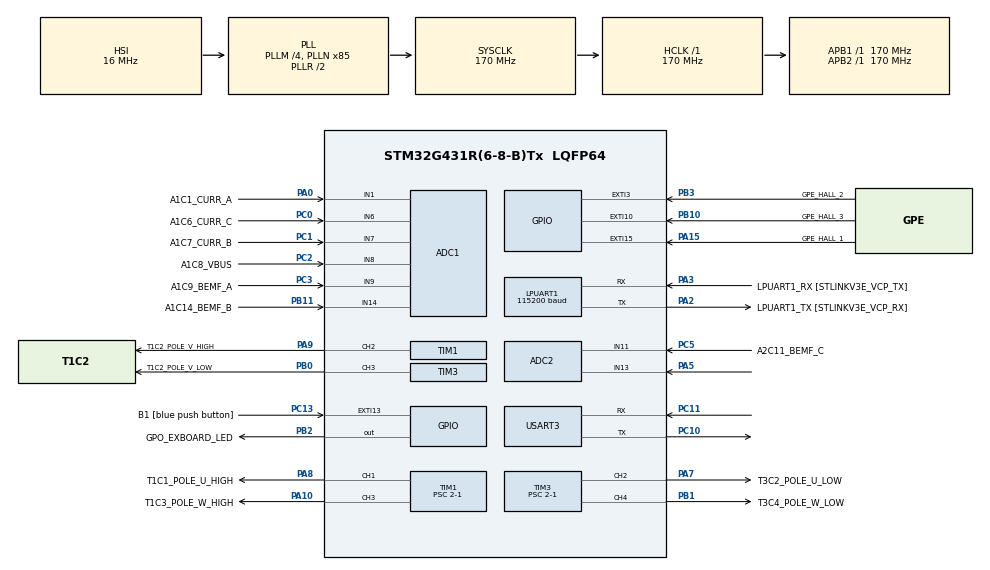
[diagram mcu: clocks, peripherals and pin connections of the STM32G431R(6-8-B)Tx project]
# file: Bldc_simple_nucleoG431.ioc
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ADC1.Channel-0\#ChannelRegularConversion=ADC_CHANNEL_1
ADC1.Channel-1\#ChannelRegularConversion=ADC_CHANNEL_6
ADC1.Channel-2\#ChannelRegularConversion=ADC_CHANNEL_7
ADC1.Channel-3\#ChannelRegularConversion=ADC_CHANNEL_9
ADC1.Channel-4\#ChannelRegularConversion=ADC_CHANNEL_14
ADC1.Channel-5\#ChannelRegularConversion=ADC_CHANNEL_8
ADC1.ContinuousConvMode=ENABLE
ADC1.DMAAccessModeView=ENABLE
ADC1.DMAContinuousRequests=ENABLE
ADC1.EOCSelection=ADC_EOC_SINGLE_CONV
ADC1.EnableInjectedConversion=DISABLE
ADC1.ExternalTrigConv=ADC_SOFTWARE_START
ADC1.Mode=ADC_DUALMODE_REGSIMULT
ADC1.NbrOfConversion=6
ADC1.NbrOfConversionFlag=1
ADC1.OffsetNumber-0\#ChannelRegularConversion=ADC_OFFSET_NONE
ADC1.OffsetNumber-1\#ChannelRegularConversion=ADC_OFFSET_NONE
ADC1.OffsetNumber-2\#ChannelRegularConversion=ADC_OFFSET_NONE
ADC1.OffsetNumber-3\#ChannelRegularConversion=ADC_OFFSET_NONE
ADC1.OffsetNumber-4\#ChannelRegularConversion=ADC_OFFSET_NONE
ADC1.OffsetNumber-5\#ChannelRegularConversion=ADC_OFFSET_NONE
ADC1.Rank-0\#ChannelRegularConversion=1
ADC1.Rank-1\#ChannelRegularConversion=2
ADC1.Rank-2\#ChannelRegularConversion=3
ADC1.Rank-3\#ChannelRegularConversion=4
ADC1.Rank-4\#ChannelRegularConversion=5
ADC1.Rank-5\#ChannelRegularConversion=6
ADC1.SamplingTime-0\#ChannelRegularConversion=ADC_SAMPLETIME_24CYCLES_5
ADC1.SamplingTime-1\#ChannelRegularConversion=ADC_SAMPLETIME_24CYCLES_5
ADC1.SamplingTime-2\#ChannelRegularConversion=ADC_SAMPLETIME_24CYCLES_5
ADC1.SamplingTime-3\#ChannelRegularConversion=ADC_SAMPLETIME_24CYCLES_5
ADC1.SamplingTime-4\#ChannelRegularConversion=ADC_SAMPLETIME_24CYCLES_5
ADC1.SamplingTime-5\#ChannelRegularConversion=ADC_SAMPLETIME_24CYCLES_5
ADC1.TwoSamplingDelay=ADC_TWOSAMPLINGDELAY_4CYCLES
ADC1.master=1
ADC2.Channel-2\#ChannelRegularConversion=ADC_CHANNEL_11
ADC2.Channel-3\#ChannelRegularConversion=ADC_CHANNEL_13
ADC2.DMAAccessModeView=ENABLE
ADC2.Mode=ADC_DUALMODE_REGSIMULT
ADC2.NbrOfConversion=2
ADC2.NbrOfConversionFlag=1
ADC2.OffsetNumber-2\#ChannelRegularConversion=ADC_OFFSET_NONE
ADC2.OffsetNumber-3\#ChannelRegularConversion=ADC_OFFSET_NONE
ADC2.Rank-2\#ChannelRegularConversion=1
ADC2.Rank-3\#ChannelRegularConversion=2
ADC2.SamplingTime-2\#ChannelRegularConversion=ADC_SAMPLETIME_24CYCLES_5
ADC2.SamplingTime-3\#ChannelRegularConversion=ADC_SAMPLETIME_24CYCLES_5
ADC2.TwoSamplingDelay=ADC_TWOSAMPLINGDELAY_4CYCLES
Dma.ADC1.0.Direction=DMA_PERIPH_TO_MEMORY
Dma.ADC1.0.EventEnable=DISABLE
Dma.ADC1.0.Instance=DMA1_Channel1
Dma.ADC1.0.MemDataAlignment=DMA_MDATAALIGN_WORD
Dma.ADC1.0.MemInc=DMA_MINC_ENABLE
Dma.ADC1.0.Mode=DMA_CIRCULAR
Dma.ADC1.0.PeriphDataAlignment=DMA_PDATAALIGN_WORD
Dma.ADC1.0.PeriphInc=DMA_PINC_DISABLE
Dma.ADC1.0.Polarity=HAL_DMAMUX_REQ_GEN_RISING
Dma.ADC1.0.Priority=DMA_PRIORITY_LOW
Dma.ADC1.0.RequestNumber=1
Dma.ADC1.0.SignalID=NONE
Dma.ADC1.0.SyncEnable=DISABLE
Dma.ADC1.0.SyncPolarity=HAL_DMAMUX_SYNC_NO_EVENT
Dma.ADC1.0.SyncRequestNumber=1
Dma.ADC1.0.SyncSignalID=NONE
Dma.LPUART1_RX.1.Direction=DMA_PERIPH_TO_MEMORY
Dma.LPUART1_RX.1.EventEnable=DISABLE
Dma.LPUART1_RX.1.Instance=DMA1_Channel2
Dma.LPUART1_RX.1.MemDataAlignment=DMA_MDATAALIGN_BYTE
Dma.LPUART1_RX.1.MemInc=DMA_MINC_ENABLE
Dma.LPUART1_RX.1.Mode=DMA_CIRCULAR
Dma.LPUART1_RX.1.PeriphDataAlignment=DMA_PDATAALIGN_BYTE
Dma.LPUART1_RX.1.PeriphInc=DMA_PINC_DISABLE
Dma.LPUART1_RX.1.Polarity=HAL_DMAMUX_REQ_GEN_RISING
Dma.LPUART1_RX.1.Priority=DMA_PRIORITY_LOW
Dma.LPUART1_RX.1.RequestNumber=1
Dma.LPUART1_RX.1.SignalID=NONE
Dma.LPUART1_RX.1.SyncEnable=DISABLE
Dma.LPUART1_RX.1.SyncPolarity=HAL_DMAMUX_SYNC_NO_EVENT
Dma.LPUART1_RX.1.SyncRequestNumber=1
Dma.LPUART1_RX.1.SyncSignalID=NONE
Dma.LPUART1_TX.2.Direction=DMA_MEMORY_TO_PERIPH
Dma.LPUART1_TX.2.EventEnable=DISABLE
Dma.LPUART1_TX.2.Instance=DMA1_Channel3
Dma.LPUART1_TX.2.MemDataAlignment=DMA_MDATAALIGN_BYTE
Dma.LPUART1_TX.2.MemInc=DMA_MINC_ENABLE
Dma.LPUART1_TX.2.Mode=DMA_NORMAL
Dma.LPUART1_TX.2.PeriphDataAlignment=DMA_PDATAALIGN_BYTE
Dma.LPUART1_TX.2.PeriphInc=DMA_PINC_DISABLE
Dma.LPUART1_TX.2.Polarity=HAL_DMAMUX_REQ_GEN_RISING
Dma.LPUART1_TX.2.Priority=DMA_PRIORITY_LOW
Dma.LPUART1_TX.2.RequestNumber=1
Dma.LPUART1_TX.2.SignalID=NONE
Dma.LPUART1_TX.2.SyncEnable=DISABLE
Dma.LPUART1_TX.2.SyncPolarity=HAL_DMAMUX_SYNC_NO_EVENT
Dma.LPUART1_TX.2.SyncRequestNumber=1
Dma.LPUART1_TX.2.SyncSignalID=NONE
Dma.Request0=ADC1
Dma.Request1=LPUART1_RX
Dma.Request2=LPUART1_TX
LPUART1.BaudRate=115200
LPUART1.WordLength=UART_WORDLENGTH_8B
Mcu.Family=STM32G4
Mcu.Name=STM32G431R(6-8-B)Tx
Mcu.Package=LQFP64
Mcu.UserConstants=TIM1_MAX_DUTY,4249
NVIC.ADC1_2_IRQn=true\:0\:0\:false\:false\:true\:true\:true\:true
NVIC.DMA1_Channel1_IRQn=true\:0\:0\:false\:false\:true\:false\:true\:true
NVIC.DMA1_Channel2_IRQn=true\:0\:0\:false\:false\:true\:false\:true\:true
NVIC.DMA1_Channel3_IRQn=true\:0\:0\:false\:false\:true\:false\:true\:true
NVIC.EXTI15_10_IRQn=true\:0\:0\:false\:false\:true\:true\:true\:true
NVIC.EXTI3_IRQn=true\:0\:0\:false\:false\:true\:true\:true\:true
NVIC.LPUART1_IRQn=true\:0\:0\:false\:false\:true\:true\:true\:true
NVIC.PriorityGroup=NVIC_PRIORITYGROUP_4
NVIC.TIM3_IRQn=true\:0\:0\:false\:false\:true\:true\:true\:true
NVIC.TIM6_DAC_IRQn=true\:0\:0\:false\:false\:true\:true\:true\:true
PA0.GPIO_Label=A1C1_CURR_A
PA0.Mode=IN1-Single-Ended
PA0.Signal=ADC1_IN1
PA10.GPIO_Label=T1C3_POLE_W_HIGH
PA10.Signal=S_TIM1_CH3
PA13.GPIO_Label=T_SWDIO
PA13.Mode=Serial_Wire
PA13.Signal=SYS_JTMS-SWDIO
PA14.GPIO_Label=T_SWCLK
PA14.Mode=Serial_Wire
PA14.Signal=SYS_JTCK-SWCLK
PA15.GPIO_Label=GPE_HALL_1
PA15.GPIO_ModeDefaultEXTI=GPIO_MODE_IT_RISING_FALLING
PA15.Signal=GPXTI15
PA2.GPIO_Label=LPUART1_TX [STLINKV3E_VCP_RX]
PA2.Mode=Asynchronous
PA2.Signal=LPUART1_TX
PA3.GPIO_Label=LPUART1_RX [STLINKV3E_VCP_TX]
PA3.Mode=Asynchronous
PA3.Signal=LPUART1_RX
PA5.Mode=IN13-Single-Ended
PA5.Signal=ADC2_IN13
PA7.GPIO_Label=T3C2_POLE_U_LOW
PA7.Signal=S_TIM3_CH2
PA8.GPIO_Label=T1C1_POLE_U_HIGH
PA8.Signal=S_TIM1_CH1
PA9.GPIO_Label=T1C2_POLE_V_HIGH
PA9.Signal=S_TIM1_CH2
PB0.GPIO_Label=T1C2_POLE_V_LOW
PB0.Signal=S_TIM3_CH3
PB1.GPIO_Label=T3C4_POLE_W_LOW
PB1.Signal=S_TIM3_CH4
PB10.GPIO_Label=GPE_HALL_3
PB10.GPIO_ModeDefaultEXTI=GPIO_MODE_IT_RISING_FALLING
PB10.Signal=GPXTI10
PB11.GPIO_Label=A1C14_BEMF_B
PB11.Mode=IN14-Single-Ended
PB11.Signal=ADC1_IN14
PB2.GPIO_Label=GPO_EXBOARD_LED
PB2.Signal=GPIO_Output
PB3.GPIO_Label=GPE_HALL_2
PB3.GPIO_ModeDefaultEXTI=GPIO_MODE_IT_RISING_FALLING
PB3.Signal=GPXTI3
PC0.GPIO_Label=A1C6_CURR_C
PC0.Mode=IN6-Single-Ended
PC0.Signal=ADC1_IN6
PC1.GPIO_Label=A1C7_CURR_B
PC1.Mode=IN7-Single-Ended
PC1.Signal=ADC1_IN7
PC10.Mode=Asynchronous
PC10.Signal=USART3_TX
PC11.Mode=Asynchronous
PC11.Signal=USART3_RX
PC13.GPIO_Label=B1 [blue push button]
PC13.Signal=GPXTI13
PC14-OSC32_IN.Mode=LSE-External-Oscillator
PC14-OSC32_IN.Signal=RCC_OSC32_IN
PC15-OSC32_OUT.Mode=LSE-External-Oscillator
PC15-OSC32_OUT.Signal=RCC_OSC32_OUT
PC2.GPIO_Label=A1C8_VBUS
PC2.Mode=IN8-Single-Ended
PC2.Signal=ADC1_IN8
PC3.GPIO_Label=A1C9_BEMF_A
PC3.Mode=IN9-Single-Ended
PC3.Signal=ADC1_IN9
PC5.GPIO_Label=A2C11_BEMF_C
PC5.Mode=IN11-Single-Ended
PC5.Signal=ADC2_IN11
PF0-OSC_IN.Mode=HSE-External-Oscillator
PF0-OSC_IN.Signal=RCC_OSC_IN
PF1-OSC_OUT.Mode=HSE-External-Oscillator
PF1-OSC_OUT.Signal=RCC_OSC_OUT
ProjectManager.HeapSize=0x200
ProjectManager.StackSize=0x400
ProjectManager.TargetToolchain=STM32CubeIDE
RCC.ADC12Freq_Value=170000000
RCC.AHBFreq_Value=170000000
RCC.APB1Freq_Value=170000000
RCC.APB1TimFreq_Value=170000000
RCC.APB2Freq_Value=170000000
RCC.APB2TimFreq_Value=170000000
RCC.CortexFreq_Value=170000000
RCC.EXTERNAL_CLOCK_VALUE=12288000
RCC.HCLKFreq_Value=170000000
RCC.HSE_VALUE=24000000
RCC.HSI48_VALUE=48000000
RCC.HSI_VALUE=16000000
RCC.PLLM=RCC_PLLM_DIV4
RCC.PLLN=85
RCC.RTCClockSelection=RCC_RTCCLKSOURCE_LSE
RCC.SYSCLKFreq_VALUE=170000000
RCC.SYSCLKSource=RCC_SYSCLKSOURCE_PLLCLK
RCC.USBFreq_Value=170000000
RCC.VCOOutputFreq_Value=340000000
SH.S_TIM1_CH1.0=TIM1_CH1,PWM Generation1 CH1
SH.S_TIM1_CH2.0=TIM1_CH2,PWM Generation2 CH2
SH.S_TIM1_CH3.0=TIM1_CH3,PWM Generation3 CH3
SH.S_TIM3_CH2.0=TIM3_CH2,PWM Generation2 CH2
SH.S_TIM3_CH3.0=TIM3_CH3,PWM Generation3 CH3
SH.S_TIM3_CH4.0=TIM3_CH4,PWM Generation4 CH4
TIM1.Channel-PWM\ Generation1\ CH1=TIM_CHANNEL_1
TIM1.Channel-PWM\ Generation2\ CH2=TIM_CHANNEL_2
TIM1.Channel-PWM\ Generation3\ CH3=TIM_CHANNEL_3
TIM1.PeriodNoDither=TIM1_MAX_DUTY
TIM1.Prescaler=2-1
TIM3.Channel-PWM\ Generation2\ CH2=TIM_CHANNEL_2
TIM3.Channel-PWM\ Generation3\ CH3=TIM_CHANNEL_3
TIM3.Channel-PWM\ Generation4\ CH4=TIM_CHANNEL_4
TIM3.PeriodNoDither=TIM1_MAX_DUTY
TIM3.Prescaler=2-1
TIM6.PeriodNoDither=1000-1
TIM6.Prescaler=170-1
TIM6.TIM_MasterOutputTrigger=TIM_TRGO_UPDATE
USART3.VirtualMode-Asynchronous=VM_ASYNC
VP_SYS_VS_DBSignals.Mode=DisableDeadBatterySignals
VP_TIM1_VS_ClockSourceINT.Mode=Internal
VP_TIM3_VS_ClockSourceINT.Mode=Internal
VP_TIM6_VS_ClockSourceINT.Mode=Enable_Timer
board=NUCLEO-G431RB

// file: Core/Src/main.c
/* USER CODE BEGIN Header */
/**
  ******************************************************************************
  * @file           : main.c
  * @brief          : Main program body
  ******************************************************************************
  * @attention
  *
  * Copyright (c) 2025 STMicroelectronics.
  * All rights reserved.
  *
  * This software is licensed under terms that can be found in the LICENSE file
  * in the root directory of this software component.
  * If no LICENSE file comes with this software, it is provided AS-IS.
  *
  ******************************************************************************
  */
/* USER CODE END Header */
#include "main.h"

/* USER CODE BEGIN Includes */
#include "tiny_printf.h"
// #include "pattern_mapping.h"
// #include "motorCtl.h"
#include "six_step.h"
#include "cli.h"
#include "L6398.h"
/* USER CODE END Includes */

ADC_HandleTypeDef hadc1;
ADC_HandleTypeDef hadc2;
DMA_HandleTypeDef hdma_adc1;

UART_HandleTypeDef hlpuart1;
UART_HandleTypeDef huart3;
DMA_HandleTypeDef hdma_lpuart1_rx;
DMA_HandleTypeDef hdma_lpuart1_tx;

TIM_HandleTypeDef htim1;
TIM_HandleTypeDef htim3;
TIM_HandleTypeDef htim6;

/* USER CODE BEGIN PV */
void _putchar(char character)
{
  // send char to console etc.
  HAL_UART_Transmit(&hlpuart1, (uint8_t*)(&character), 1, 20) ;
}

/* USER CODE END PV */

void SystemClock_Config(void);
static void MX_GPIO_Init(void);
static void MX_DMA_Init(void);
static void MX_ADC1_Init(void);
static void MX_LPUART1_UART_Init(void);
static void MX_TIM6_Init(void);
static void MX_ADC2_Init(void);
static void MX_TIM1_Init(void);
static void MX_USART3_UART_Init(void);
static void MX_TIM3_Init(void);

/* USER CODE BEGIN 0 */
uint16_t testPwmVal = 0;

static L6398_Unipolar_t g_xDriverUniPolar;
static _6StepCtlCtx_t g_xCtlUniPolar;

extern void AdcSampling();

/* USER CODE END 0 */

int main(void)
{

  /* MCU Configuration--------------------------------------------------------*/

  /* Reset of all peripherals, Initializes the Flash interface and the Systick. */
  HAL_Init();

  /* Configure the system clock */
  SystemClock_Config();

  /* Initialize all configured peripherals */
  MX_GPIO_Init();
  MX_DMA_Init();
  MX_ADC1_Init();
  MX_LPUART1_UART_Init();
  MX_TIM6_Init();
  MX_ADC2_Init();
  MX_TIM1_Init();
  MX_USART3_UART_Init();
  MX_TIM3_Init();
  /* USER CODE BEGIN 2 */

  printf("Hello Motor World!\r\n");
  //__HAL_TIM_SET_COUNTER(&htim1, 0);
  __HAL_TIM_SET_COUNTER(&htim3, 0);
  HAL_TIM_PWM_Start(&htim3, TIM_CHANNEL_2);
  HAL_TIM_PWM_Start(&htim3, TIM_CHANNEL_3);
  HAL_TIM_PWM_Start(&htim3, TIM_CHANNEL_4);

  cliInit((void*)0);
  cliOpen(0, &hlpuart1);

  InitL6398_Unipolar(&g_xDriverUniPolar, AdcSampling, NULL);
	Init_6Step_Unipolar(&g_xCtlUniPolar, (void*)&g_xDriverUniPolar);
	cliAdd("six_step", CliControl, (void*)&g_xCtlUniPolar,  1);

  //

  HAL_TIM_Base_Start_IT(&htim6);

  /* USER CODE END 2 */

  /* Infinite loop */
  while (1)
  {

    /* USER CODE BEGIN 3 */
#if 0
    for(int i = 0; i < ADC_BUFFER_LENGTH; i++)
    {
        g_adc_buffer_ch1[i] = (uint16_t)(adc_multimode_buffer[i] & 0xFFFF);        // ADC1 ?��?��?��
        g_adc_buffer_ch2[i] = (uint16_t)((adc_multimode_buffer[i] >> 16) & 0xFFFF); // ADC2 ?��?��?�� (마�?막만 ?��?��)
    }

    g_fAdcVolt[eADC_CH_CURR_A] = ((float)g_adc_buffer_ch1[0]) * (3.3f / 4095.0f);
    g_fAdcVolt[eADC_CH_CURR_B] = ((float)g_adc_buffer_ch1[2]) * (3.3f / 4095.0f);
    g_fAdcVolt[eADC_CH_CURR_C] = ((float)g_adc_buffer_ch1[1]) * (3.3f / 4095.0f);
    g_fAdcVolt[eADC_CH_BEMF_A] = ((float)g_adc_buffer_ch1[3]) * (3.3f / 4095.0f);
    g_fAdcVolt[eADC_CH_VBUS]   = ((float)g_adc_buffer_ch1[5]) * (3.3f / 4095.0f);
    g_fAdcVolt[eADC_CH_BEMF_B] = ((float)g_adc_buffer_ch1[4]) * (3.3f / 4095.0f);
    g_fAdcVolt[eADC_CH_BEMF_C] = ((float)g_adc_buffer_ch2[0]) * (3.3f / 4095.0f);

    for(int i = 0; i < ADC_BUFFER_LENGTH; i++)
    {
       g_fCurrMeas[i] = g_fAdcVolt[i] - g_fCurrOffset[i];
    }
#endif
    cliMain();
  }
  /* USER CODE END 3 */
}

void SystemClock_Config(void)
{
  RCC_OscInitTypeDef RCC_OscInitStruct = {0};
  RCC_ClkInitTypeDef RCC_ClkInitStruct = {0};

  /** Configure the main internal regulator output voltage
  */
  HAL_PWREx_ControlVoltageScaling(PWR_REGULATOR_VOLTAGE_SCALE1_BOOST);

  /** Initializes the RCC Oscillators according to the specified parameters
  * in the RCC_OscInitTypeDef structure.
  */
  RCC_OscInitStruct.OscillatorType = RCC_OSCILLATORTYPE_HSI;
  RCC_OscInitStruct.HSIState = RCC_HSI_ON;
  RCC_OscInitStruct.HSICalibrationValue = RCC_HSICALIBRATION_DEFAULT;
  RCC_OscInitStruct.PLL.PLLState = RCC_PLL_ON;
  RCC_OscInitStruct.PLL.PLLSource = RCC_PLLSOURCE_HSI;
  RCC_OscInitStruct.PLL.PLLM = RCC_PLLM_DIV4;
  RCC_OscInitStruct.PLL.PLLN = 85;
  RCC_OscInitStruct.PLL.PLLP = RCC_PLLP_DIV2;
  RCC_OscInitStruct.PLL.PLLQ = RCC_PLLQ_DIV2;
  RCC_OscInitStruct.PLL.PLLR = RCC_PLLR_DIV2;
  if (HAL_RCC_OscConfig(&RCC_OscInitStruct) != HAL_OK)
  {
    Error_Handler();
  }

  /** Initializes the CPU, AHB and APB buses clocks
  */
  RCC_ClkInitStruct.ClockType = RCC_CLOCKTYPE_HCLK|RCC_CLOCKTYPE_SYSCLK
                              |RCC_CLOCKTYPE_PCLK1|RCC_CLOCKTYPE_PCLK2;
  RCC_ClkInitStruct.SYSCLKSource = RCC_SYSCLKSOURCE_PLLCLK;
  RCC_ClkInitStruct.AHBCLKDivider = RCC_SYSCLK_DIV1;
  RCC_ClkInitStruct.APB1CLKDivider = RCC_HCLK_DIV1;
  RCC_ClkInitStruct.APB2CLKDivider = RCC_HCLK_DIV1;

  if (HAL_RCC_ClockConfig(&RCC_ClkInitStruct, FLASH_LATENCY_4) != HAL_OK)
  {
    Error_Handler();
  }
}

static void MX_ADC1_Init(void)
{

  ADC_MultiModeTypeDef multimode = {0};
  ADC_ChannelConfTypeDef sConfig = {0};

  /** Common config
  */
  hadc1.Instance = ADC1;
  hadc1.Init.ClockPrescaler = ADC_CLOCK_SYNC_PCLK_DIV4;
  hadc1.Init.Resolution = ADC_RESOLUTION_12B;
  hadc1.Init.DataAlign = ADC_DATAALIGN_RIGHT;
  hadc1.Init.GainCompensation = 0;
  hadc1.Init.ScanConvMode = ADC_SCAN_ENABLE;
  hadc1.Init.EOCSelection = ADC_EOC_SINGLE_CONV;
  hadc1.Init.LowPowerAutoWait = DISABLE;
  hadc1.Init.ContinuousConvMode = ENABLE;
  hadc1.Init.NbrOfConversion = 6;
  hadc1.Init.DiscontinuousConvMode = DISABLE;
  hadc1.Init.ExternalTrigConv = ADC_SOFTWARE_START;
  hadc1.Init.ExternalTrigConvEdge = ADC_EXTERNALTRIGCONVEDGE_NONE;
  hadc1.Init.DMAContinuousRequests = ENABLE;
  hadc1.Init.Overrun = ADC_OVR_DATA_PRESERVED;
  hadc1.Init.OversamplingMode = DISABLE;
  if (HAL_ADC_Init(&hadc1) != HAL_OK)
  {
    Error_Handler();
  }

  /** Configure the ADC multi-mode
  */
  multimode.Mode = ADC_DUALMODE_REGSIMULT;
  multimode.DMAAccessMode = ADC_DMAACCESSMODE_12_10_BITS;
  multimode.TwoSamplingDelay = ADC_TWOSAMPLINGDELAY_4CYCLES;
  if (HAL_ADCEx_MultiModeConfigChannel(&hadc1, &multimode) != HAL_OK)
  {
    Error_Handler();
  }

  /** Configure Regular Channel
  */
  sConfig.Channel = ADC_CHANNEL_1;
  sConfig.Rank = ADC_REGULAR_RANK_1;
  sConfig.SamplingTime = ADC_SAMPLETIME_24CYCLES_5;
  sConfig.SingleDiff = ADC_SINGLE_ENDED;
  sConfig.OffsetNumber = ADC_OFFSET_NONE;
  sConfig.Offset = 0;
  if (HAL_ADC_ConfigChannel(&hadc1, &sConfig) != HAL_OK)
  {
    Error_Handler();
  }

  /** Configure Regular Channel
  */
  sConfig.Channel = ADC_CHANNEL_6;
  sConfig.Rank = ADC_REGULAR_RANK_2;
  if (HAL_ADC_ConfigChannel(&hadc1, &sConfig) != HAL_OK)
  {
    Error_Handler();
  }

  /** Configure Regular Channel
  */
  sConfig.Channel = ADC_CHANNEL_7;
  sConfig.Rank = ADC_REGULAR_RANK_3;
  if (HAL_ADC_ConfigChannel(&hadc1, &sConfig) != HAL_OK)
  {
    Error_Handler();
  }

  /** Configure Regular Channel
  */
  sConfig.Channel = ADC_CHANNEL_9;
  sConfig.Rank = ADC_REGULAR_RANK_4;
  if (HAL_ADC_ConfigChannel(&hadc1, &sConfig) != HAL_OK)
  {
    Error_Handler();
  }

  /** Configure Regular Channel
  */
  sConfig.Channel = ADC_CHANNEL_14;
  sConfig.Rank = ADC_REGULAR_RANK_5;
  if (HAL_ADC_ConfigChannel(&hadc1, &sConfig) != HAL_OK)
  {
    Error_Handler();
  }

  /** Configure Regular Channel
  */
  sConfig.Channel = ADC_CHANNEL_8;
  sConfig.Rank = ADC_REGULAR_RANK_6;
  if (HAL_ADC_ConfigChannel(&hadc1, &sConfig) != HAL_OK)
  {
    Error_Handler();
  }

}

static void MX_ADC2_Init(void)
{

  ADC_ChannelConfTypeDef sConfig = {0};

  /** Common config
  */
  hadc2.Instance = ADC2;
  hadc2.Init.ClockPrescaler = ADC_CLOCK_SYNC_PCLK_DIV4;
  hadc2.Init.Resolution = ADC_RESOLUTION_12B;
  hadc2.Init.DataAlign = ADC_DATAALIGN_RIGHT;
  hadc2.Init.GainCompensation = 0;
  hadc2.Init.ScanConvMode = ADC_SCAN_ENABLE;
  hadc2.Init.EOCSelection = ADC_EOC_SINGLE_CONV;
  hadc2.Init.LowPowerAutoWait = DISABLE;
  hadc2.Init.ContinuousConvMode = ENABLE;
  hadc2.Init.NbrOfConversion = 2;
  hadc2.Init.DiscontinuousConvMode = DISABLE;
  hadc2.Init.DMAContinuousRequests = DISABLE;
  hadc2.Init.Overrun = ADC_OVR_DATA_PRESERVED;
  hadc2.Init.OversamplingMode = DISABLE;
  if (HAL_ADC_Init(&hadc2) != HAL_OK)
  {
    Error_Handler();
  }

  /** Configure Regular Channel
  */
  sConfig.Channel = ADC_CHANNEL_11;
  sConfig.Rank = ADC_REGULAR_RANK_1;
  sConfig.SamplingTime = ADC_SAMPLETIME_24CYCLES_5;
  sConfig.SingleDiff = ADC_SINGLE_ENDED;
  sConfig.OffsetNumber = ADC_OFFSET_NONE;
  sConfig.Offset = 0;
  if (HAL_ADC_ConfigChannel(&hadc2, &sConfig) != HAL_OK)
  {
    Error_Handler();
  }

  /** Configure Regular Channel
  */
  sConfig.Channel = ADC_CHANNEL_13;
  sConfig.Rank = ADC_REGULAR_RANK_2;
  if (HAL_ADC_ConfigChannel(&hadc2, &sConfig) != HAL_OK)
  {
    Error_Handler();
  }
  /* USER CODE BEGIN ADC2_Init 2 */

	sConfig.Channel = ADC_CHANNEL_11;
	sConfig.Rank = ADC_REGULAR_RANK_3;
	if (HAL_ADC_ConfigChannel(&hadc2, &sConfig) != HAL_OK)
	{
	Error_Handler();
	}

	sConfig.Channel = ADC_CHANNEL_13;
	sConfig.Rank = ADC_REGULAR_RANK_4;
	if (HAL_ADC_ConfigChannel(&hadc2, &sConfig) != HAL_OK)
	{
	Error_Handler();
	}

	sConfig.Channel = ADC_CHANNEL_11;
	sConfig.Rank = ADC_REGULAR_RANK_5;
	if (HAL_ADC_ConfigChannel(&hadc2, &sConfig) != HAL_OK)
	{
	Error_Handler();
	}

	sConfig.Channel = ADC_CHANNEL_13;
	sConfig.Rank = ADC_REGULAR_RANK_6;
	if (HAL_ADC_ConfigChannel(&hadc2, &sConfig) != HAL_OK)
	{
	Error_Handler();
	}
  /* USER CODE END ADC2_Init 2 */

}

static void MX_LPUART1_UART_Init(void)
{

  hlpuart1.Instance = LPUART1;
  hlpuart1.Init.BaudRate = 115200;
  hlpuart1.Init.WordLength = UART_WORDLENGTH_8B;
  hlpuart1.Init.StopBits = UART_STOPBITS_1;
  hlpuart1.Init.Parity = UART_PARITY_NONE;
  hlpuart1.Init.Mode = UART_MODE_TX_RX;
  hlpuart1.Init.HwFlowCtl = UART_HWCONTROL_NONE;
  hlpuart1.Init.OneBitSampling = UART_ONE_BIT_SAMPLE_DISABLE;
  hlpuart1.Init.ClockPrescaler = UART_PRESCALER_DIV1;
  hlpuart1.AdvancedInit.AdvFeatureInit = UART_ADVFEATURE_NO_INIT;
  if (HAL_UART_Init(&hlpuart1) != HAL_OK)
  {
    Error_Handler();
  }
  if (HAL_UARTEx_SetTxFifoThreshold(&hlpuart1, UART_TXFIFO_THRESHOLD_1_8) != HAL_OK)
  {
    Error_Handler();
  }
  if (HAL_UARTEx_SetRxFifoThreshold(&hlpuart1, UART_RXFIFO_THRESHOLD_1_8) != HAL_OK)
  {
    Error_Handler();
  }
  if (HAL_UARTEx_DisableFifoMode(&hlpuart1) != HAL_OK)
  {
    Error_Handler();
  }

}

static void MX_USART3_UART_Init(void)
{

  huart3.Instance = USART3;
  huart3.Init.BaudRate = 115200;
  huart3.Init.WordLength = UART_WORDLENGTH_8B;
  huart3.Init.StopBits = UART_STOPBITS_1;
  huart3.Init.Parity = UART_PARITY_NONE;
  huart3.Init.Mode = UART_MODE_TX_RX;
  huart3.Init.HwFlowCtl = UART_HWCONTROL_NONE;
  huart3.Init.OverSampling = UART_OVERSAMPLING_16;
  huart3.Init.OneBitSampling = UART_ONE_BIT_SAMPLE_DISABLE;
  huart3.Init.ClockPrescaler = UART_PRESCALER_DIV1;
  huart3.AdvancedInit.AdvFeatureInit = UART_ADVFEATURE_NO_INIT;
  if (HAL_UART_Init(&huart3) != HAL_OK)
  {
    Error_Handler();
  }
  if (HAL_UARTEx_SetTxFifoThreshold(&huart3, UART_TXFIFO_THRESHOLD_1_8) != HAL_OK)
  {
    Error_Handler();
  }
  if (HAL_UARTEx_SetRxFifoThreshold(&huart3, UART_RXFIFO_THRESHOLD_1_8) != HAL_OK)
  {
    Error_Handler();
  }
  if (HAL_UARTEx_DisableFifoMode(&huart3) != HAL_OK)
  {
    Error_Handler();
  }

}

static void MX_TIM1_Init(void)
{

  TIM_ClockConfigTypeDef sClockSourceConfig = {0};
  TIM_MasterConfigTypeDef sMasterConfig = {0};
  TIM_OC_InitTypeDef sConfigOC = {0};
  TIM_BreakDeadTimeConfigTypeDef sBreakDeadTimeConfig = {0};

  htim1.Instance = TIM1;
  htim1.Init.Prescaler = 2-1;
  htim1.Init.CounterMode = TIM_COUNTERMODE_UP;
  htim1.Init.Period = 4249;
  htim1.Init.ClockDivision = TIM_CLOCKDIVISION_DIV1;
  htim1.Init.RepetitionCounter = 0;
  htim1.Init.AutoReloadPreload = TIM_AUTORELOAD_PRELOAD_DISABLE;
  if (HAL_TIM_Base_Init(&htim1) != HAL_OK)
  {
    Error_Handler();
  }
  sClockSourceConfig.ClockSource = TIM_CLOCKSOURCE_INTERNAL;
  if (HAL_TIM_ConfigClockSource(&htim1, &sClockSourceConfig) != HAL_OK)
  {
    Error_Handler();
  }
  if (HAL_TIM_PWM_Init(&htim1) != HAL_OK)
  {
    Error_Handler();
  }
  sMasterConfig.MasterOutputTrigger = TIM_TRGO_RESET;
  sMasterConfig.MasterOutputTrigger2 = TIM_TRGO2_RESET;
  sMasterConfig.MasterSlaveMode = TIM_MASTERSLAVEMODE_DISABLE;
  if (HAL_TIMEx_MasterConfigSynchronization(&htim1, &sMasterConfig) != HAL_OK)
  {
    Error_Handler();
  }
  sConfigOC.OCMode = TIM_OCMODE_PWM1;
  sConfigOC.Pulse = 0;
  sConfigOC.OCPolarity = TIM_OCPOLARITY_HIGH;
  sConfigOC.OCNPolarity = TIM_OCNPOLARITY_HIGH;
  sConfigOC.OCFastMode = TIM_OCFAST_DISABLE;
  sConfigOC.OCIdleState = TIM_OCIDLESTATE_RESET;
  sConfigOC.OCNIdleState = TIM_OCNIDLESTATE_RESET;
  if (HAL_TIM_PWM_ConfigChannel(&htim1, &sConfigOC, TIM_CHANNEL_1) != HAL_OK)
  {
    Error_Handler();
  }
  if (HAL_TIM_PWM_ConfigChannel(&htim1, &sConfigOC, TIM_CHANNEL_2) != HAL_OK)
  {
    Error_Handler();
  }
  if (HAL_TIM_PWM_ConfigChannel(&htim1, &sConfigOC, TIM_CHANNEL_3) != HAL_OK)
  {
    Error_Handler();
  }
  sBreakDeadTimeConfig.OffStateRunMode = TIM_OSSR_DISABLE;
  sBreakDeadTimeConfig.OffStateIDLEMode = TIM_OSSI_DISABLE;
  sBreakDeadTimeConfig.LockLevel = TIM_LOCKLEVEL_OFF;
  sBreakDeadTimeConfig.DeadTime = 0;
  sBreakDeadTimeConfig.BreakState = TIM_BREAK_DISABLE;
  sBreakDeadTimeConfig.BreakPolarity = TIM_BREAKPOLARITY_HIGH;
  sBreakDeadTimeConfig.BreakFilter = 0;
  sBreakDeadTimeConfig.BreakAFMode = TIM_BREAK_AFMODE_INPUT;
  sBreakDeadTimeConfig.Break2State = TIM_BREAK2_DISABLE;
  sBreakDeadTimeConfig.Break2Polarity = TIM_BREAK2POLARITY_HIGH;
  sBreakDeadTimeConfig.Break2Filter = 0;
  sBreakDeadTimeConfig.Break2AFMode = TIM_BREAK_AFMODE_INPUT;
  sBreakDeadTimeConfig.AutomaticOutput = TIM_AUTOMATICOUTPUT_DISABLE;
  if (HAL_TIMEx_ConfigBreakDeadTime(&htim1, &sBreakDeadTimeConfig) != HAL_OK)
  {
    Error_Handler();
  }
  HAL_TIM_MspPostInit(&htim1);

}

static void MX_TIM3_Init(void)
{

  TIM_ClockConfigTypeDef sClockSourceConfig = {0};
  TIM_MasterConfigTypeDef sMasterConfig = {0};
  TIM_OC_InitTypeDef sConfigOC = {0};

  htim3.Instance = TIM3;
  htim3.Init.Prescaler = 2-1;
  htim3.Init.CounterMode = TIM_COUNTERMODE_UP;
  htim3.Init.Period = 4249;
  htim3.Init.ClockDivision = TIM_CLOCKDIVISION_DIV1;
  htim3.Init.AutoReloadPreload = TIM_AUTORELOAD_PRELOAD_DISABLE;
  if (HAL_TIM_Base_Init(&htim3) != HAL_OK)
  {
    Error_Handler();
  }
  sClockSourceConfig.ClockSource = TIM_CLOCKSOURCE_INTERNAL;
  if (HAL_TIM_ConfigClockSource(&htim3, &sClockSourceConfig) != HAL_OK)
  {
    Error_Handler();
  }
  if (HAL_TIM_PWM_Init(&htim3) != HAL_OK)
  {
    Error_Handler();
  }
  sMasterConfig.MasterOutputTrigger = TIM_TRGO_RESET;
  sMasterConfig.MasterSlaveMode = TIM_MASTERSLAVEMODE_DISABLE;
  if (HAL_TIMEx_MasterConfigSynchronization(&htim3, &sMasterConfig) != HAL_OK)
  {
    Error_Handler();
  }
  sConfigOC.OCMode = TIM_OCMODE_PWM1;
  sConfigOC.Pulse = 0;
  sConfigOC.OCPolarity = TIM_OCPOLARITY_HIGH;
  sConfigOC.OCFastMode = TIM_OCFAST_DISABLE;
  if (HAL_TIM_PWM_ConfigChannel(&htim3, &sConfigOC, TIM_CHANNEL_2) != HAL_OK)
  {
    Error_Handler();
  }
  if (HAL_TIM_PWM_ConfigChannel(&htim3, &sConfigOC, TIM_CHANNEL_3) != HAL_OK)
  {
    Error_Handler();
  }
  if (HAL_TIM_PWM_ConfigChannel(&htim3, &sConfigOC, TIM_CHANNEL_4) != HAL_OK)
  {
    Error_Handler();
  }
  HAL_TIM_MspPostInit(&htim3);

}

static void MX_TIM6_Init(void)
{

  TIM_MasterConfigTypeDef sMasterConfig = {0};

  htim6.Instance = TIM6;
  htim6.Init.Prescaler = 170-1;
  htim6.Init.CounterMode = TIM_COUNTERMODE_UP;
  htim6.Init.Period = 999;
  htim6.Init.AutoReloadPreload = TIM_AUTORELOAD_PRELOAD_DISABLE;
  if (HAL_TIM_Base_Init(&htim6) != HAL_OK)
  {
    Error_Handler();
  }
  sMasterConfig.MasterOutputTrigger = TIM_TRGO_UPDATE;
  sMasterConfig.MasterSlaveMode = TIM_MASTERSLAVEMODE_DISABLE;
  if (HAL_TIMEx_MasterConfigSynchronization(&htim6, &sMasterConfig) != HAL_OK)
  {
    Error_Handler();
  }

}

static void MX_DMA_Init(void)
{

  /* DMA controller clock enable */
  __HAL_RCC_DMAMUX1_CLK_ENABLE();
  __HAL_RCC_DMA1_CLK_ENABLE();

  /* DMA interrupt init */
  /* DMA1_Channel1_IRQn interrupt configuration */
  HAL_NVIC_SetPriority(DMA1_Channel1_IRQn, 0, 0);
  HAL_NVIC_EnableIRQ(DMA1_Channel1_IRQn);
  /* DMA1_Channel2_IRQn interrupt configuration */
  HAL_NVIC_SetPriority(DMA1_Channel2_IRQn, 0, 0);
  HAL_NVIC_EnableIRQ(DMA1_Channel2_IRQn);
  /* DMA1_Channel3_IRQn interrupt configuration */
  HAL_NVIC_SetPriority(DMA1_Channel3_IRQn, 0, 0);
  HAL_NVIC_EnableIRQ(DMA1_Channel3_IRQn);

}

static void MX_GPIO_Init(void)
{
  GPIO_InitTypeDef GPIO_InitStruct = {0};

  /* GPIO Ports Clock Enable */
  __HAL_RCC_GPIOC_CLK_ENABLE();
  __HAL_RCC_GPIOF_CLK_ENABLE();
  __HAL_RCC_GPIOA_CLK_ENABLE();
  __HAL_RCC_GPIOB_CLK_ENABLE();

  /*Configure GPIO pin Output Level */
  HAL_GPIO_WritePin(GPO_EXBOARD_LED_GPIO_Port, GPO_EXBOARD_LED_Pin, GPIO_PIN_RESET);

  /*Configure GPIO pin : B1_Pin */
  GPIO_InitStruct.Pin = B1_Pin;
  GPIO_InitStruct.Mode = GPIO_MODE_IT_RISING;
  GPIO_InitStruct.Pull = GPIO_NOPULL;
  HAL_GPIO_Init(B1_GPIO_Port, &GPIO_InitStruct);

  /*Configure GPIO pin : GPO_EXBOARD_LED_Pin */
  GPIO_InitStruct.Pin = GPO_EXBOARD_LED_Pin;
  GPIO_InitStruct.Mode = GPIO_MODE_OUTPUT_PP;
  GPIO_InitStruct.Pull = GPIO_NOPULL;
  GPIO_InitStruct.Speed = GPIO_SPEED_FREQ_LOW;
  HAL_GPIO_Init(GPO_EXBOARD_LED_GPIO_Port, &GPIO_InitStruct);

  /*Configure GPIO pins : GPE_HALL_3_Pin GPE_HALL_2_Pin */
  GPIO_InitStruct.Pin = GPE_HALL_3_Pin|GPE_HALL_2_Pin;
  GPIO_InitStruct.Mode = GPIO_MODE_IT_RISING_FALLING;
  GPIO_InitStruct.Pull = GPIO_NOPULL;
  HAL_GPIO_Init(GPIOB, &GPIO_InitStruct);

  /*Configure GPIO pin : GPE_HALL_1_Pin */
  GPIO_InitStruct.Pin = GPE_HALL_1_Pin;
  GPIO_InitStruct.Mode = GPIO_MODE_IT_RISING_FALLING;
  GPIO_InitStruct.Pull = GPIO_NOPULL;
  HAL_GPIO_Init(GPE_HALL_1_GPIO_Port, &GPIO_InitStruct);

  /* EXTI interrupt init*/
  HAL_NVIC_SetPriority(EXTI3_IRQn, 0, 0);
  HAL_NVIC_EnableIRQ(EXTI3_IRQn);

  HAL_NVIC_SetPriority(EXTI15_10_IRQn, 0, 0);
  HAL_NVIC_EnableIRQ(EXTI15_10_IRQn);

/* USER CODE BEGIN MX_GPIO_Init_2 */
  /* Unipolor control pin */
//	GPIO_InitStruct.Pin = GPIO_PIN_0 | GPIO_PIN_1;
//	GPIO_InitStruct.Mode = GPIO_MODE_OUTPUT_PP;
//	GPIO_InitStruct.Pull = GPIO_NOPULL;
//	GPIO_InitStruct.Speed = GPIO_SPEED_FREQ_LOW;
//	HAL_GPIO_Init(GPIOB, &GPIO_InitStruct);
//
//	GPIO_InitStruct.Pin = GPIO_PIN_7;
//	GPIO_InitStruct.Mode = GPIO_MODE_OUTPUT_PP;
//	GPIO_InitStruct.Pull = GPIO_NOPULL;
//	GPIO_InitStruct.Speed = GPIO_SPEED_FREQ_LOW;
//	HAL_GPIO_Init(GPIOA, &GPIO_InitStruct);
	GPIO_InitStruct.Pin = GPIO_PIN_8 | GPIO_PIN_9 | GPIO_PIN_10;
	GPIO_InitStruct.Mode = GPIO_MODE_OUTPUT_PP;
	GPIO_InitStruct.Pull = GPIO_NOPULL;
	GPIO_InitStruct.Speed = GPIO_SPEED_FREQ_LOW;
	HAL_GPIO_Init(GPIOA, &GPIO_InitStruct);

  GPIO_InitStruct.Pin = GPIO_PIN_7;
	GPIO_InitStruct.Mode = GPIO_MODE_OUTPUT_PP;
	GPIO_InitStruct.Pull = GPIO_NOPULL;
	GPIO_InitStruct.Speed = GPIO_SPEED_FREQ_LOW;
	HAL_GPIO_Init(GPIOB, &GPIO_InitStruct);
/* USER CODE END MX_GPIO_Init_2 */
}

void Error_Handler(void)
{
  __disable_irq();
  while (1)
  {
  }
}
